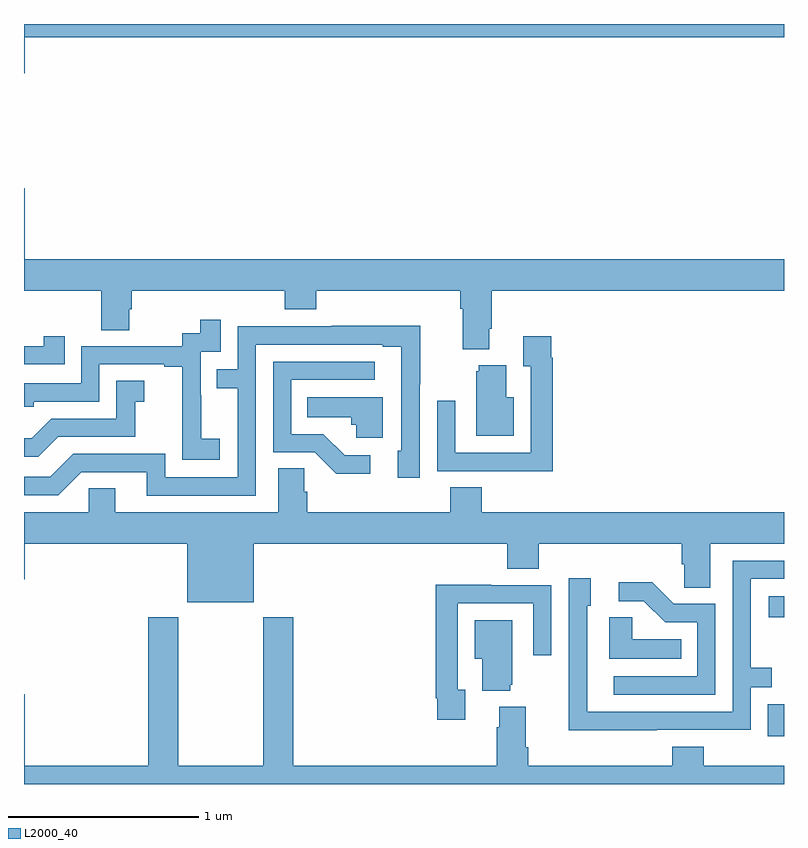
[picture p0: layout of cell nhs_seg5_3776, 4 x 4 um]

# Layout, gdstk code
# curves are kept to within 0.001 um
import gdstk
lib = gdstk.Library(unit=1e-6, precision=1e-09)
def R(c, l, rs):  # rectangles x0, y0, x1, y1
    for r in rs: c.add(gdstk.rectangle(r[:2], r[2:], *l))
def P(c, l, *ps):  # polygons
    for p in ps: c.add(gdstk.Polygon(p, *l))
L2000_40 = (2000, 40)

nhs_seg5_3776 = lib.new_cell('nhs_seg5_3776')
R(nhs_seg5_3776, L2000_40, [(336.915,885.051,337,885.219), (336.921,885.677,337,885.787)])
P(nhs_seg5_3776, L2000_40, [(333.004,888.728),(337,888.728),(337,888.799),(333,888.799),(333,888.54),(333.004,888.54)],
  [(335.449,887.194),(335.462,887.194),(335.462,887.396),(337,887.396),(337,887.56),(333.004,887.56),(333.004,887.935),(333,887.935),(333,887.396),(333.406,887.396),(333.406,887.188),(333.553,887.188),(333.553,887.298),(333.566,887.298),(333.566,887.396),(334.373,887.396),(334.373,887.297),(334.538,887.297),(334.538,887.396),(335.297,887.396),(335.297,887.3),(335.309,887.3),(335.309,887.087),(335.449,887.087)],
  [(334.03,886.615),(333.932,886.615),(333.932,886.844),(333.93,886.844),(333.93,887.073),(334.035,887.073),(334.035,887.242),(333.927,887.242),(333.927,887.172),(333.834,887.172),(333.834,887.103),(333.3,887.103),(333.3,886.908),(333,886.908),(333,886.785),(333.051,886.785),(333.051,886.812),(333.396,886.812),(333.396,887.007),(333.737,887.007),(333.737,886.995),(333.833,886.995),(333.833,886.711),(333.832,886.711),(333.832,886.505),(334.03,886.505)],
  [(334.221,887.112),(334.889,887.112),(334.889,887.1),(334.985,887.1),(334.986,886.554),(334.967,886.554),(334.967,886.41),(335.082,886.41),(335.082,886.903),(335.085,886.903),(335.085,887.21),(334.621,887.21),(334.621,887.208),(334.125,887.208),(334.125,886.983),(334.015,886.983),(334.015,886.882),(334.125,886.882),(334.125,886.413),(333.744,886.413),(333.744,886.536),(333.258,886.536),(333.138,886.416),(333,886.416),(333,886.32),(333.18,886.32),(333.3,886.44),(333.647,886.44),(333.647,886.317),(334.221,886.317)],
  [(333.215,887.155),(333.104,887.155),(333.104,887.103),(333,887.103),(333,887.007),(333.215,887.007)],
  [(335.783,887.042),(335.776,887.042),(335.776,887.155),(335.627,887.155),(335.627,886.999),(335.667,886.999),(335.667,886.542),(335.271,886.542),(335.271,886.816),(335.175,886.816),(335.175,886.446),(335.491,886.446),(335.491,886.445),(335.783,886.445)],
  [(334.822,886.53),(334.687,886.53),(334.576,886.641),(334.407,886.641),(334.407,886.926),(334.846,886.926),(334.846,887.022),(334.311,887.022),(334.311,886.545),(334.53,886.545),(334.643,886.433),(334.822,886.433)],
  [(335.578,886.834),(335.539,886.834),(335.539,887.002),(335.393,887.002),(335.393,886.971),(335.381,886.971),(335.381,886.631),(335.578,886.631)],
  [(333.181,886.626),(333.585,886.626),(333.585,886.811),(333.634,886.811),(333.634,886.921),(333.486,886.921),(333.486,886.722),(333.144,886.722),(333.04,886.618),(333,886.618),(333,886.521),(333.076,886.521)],
  [(334.888,886.834),(334.492,886.834),(334.492,886.73),(334.723,886.73),(334.723,886.689),(334.749,886.689),(334.749,886.622),(334.888,886.622)],
  [(334.21,886.064),(335.543,886.064),(335.543,885.931),(335.708,885.931),(335.708,886.064),(336.461,886.064),(336.461,885.955),(336.474,885.955),(336.474,885.832),(336.613,885.832),(336.613,886.064),(337,886.064),(337,886.228),(335.408,886.228),(335.408,886.361),(335.243,886.361),(335.243,886.228),(334.49,886.228),(334.49,886.337),(334.476,886.337),(334.476,886.46),(334.337,886.46),(334.337,886.228),(333.481,886.228),(333.481,886.355),(333.342,886.355),(333.342,886.228),(333,886.228),(333,885.876),(333.004,885.876),(333.004,886.064),(333.86,886.064),(333.86,885.755),(334.21,885.755)],
  [(336.329,885.084),(336.825,885.084),(336.825,885.309),(336.935,885.309),(336.935,885.41),(336.825,885.41),(336.825,885.879),(337,885.879),(337,885.975),(336.729,885.975),(336.729,885.18),(335.964,885.18),(335.964,885.738),(335.983,885.738),(335.983,885.883),(335.868,885.883),(335.868,885.389),(335.866,885.389),(335.866,885.083),(336.329,885.083)],
  [(336.639,885.747),(336.42,885.747),(336.307,885.86),(336.129,885.86),(336.129,885.762),(336.263,885.762),(336.374,885.651),(336.543,885.651),(336.543,885.366),(336.105,885.366),(336.105,885.27),(336.639,885.27)],
  [(335.323,885.294),(335.283,885.294),(335.283,885.75),(335.679,885.75),(335.679,885.477),(335.775,885.477),(335.775,885.846),(335.459,885.846),(335.459,885.848),(335.167,885.848),(335.167,885.25),(335.175,885.25),(335.175,885.138),(335.323,885.138)],
  [(336.458,885.562),(336.201,885.562),(336.201,885.677),(336.08,885.677),(336.08,885.458),(336.458,885.458)],
  [(337,884.896),(336.578,884.896),(336.578,884.995),(336.413,884.995),(336.413,884.896),(335.654,884.896),(335.654,884.992),(335.641,884.992),(335.641,885.205),(335.501,885.205),(335.501,885.098),(335.489,885.098),(335.489,884.896),(334.418,884.896),(334.418,885.676),(334.258,885.676),(334.258,884.896),(333.813,884.896),(333.813,885.676),(333.653,885.676),(333.653,884.896),(333.004,884.896),(333.004,885.271),(333,885.271),(333,884.799),(337,884.799)],
  [(335.558,885.321),(335.569,885.321),(335.569,885.661),(335.372,885.661),(335.372,885.458),(335.411,885.458),(335.411,885.29),(335.558,885.29)])

lib.write_gds('nhs_seg5_3776.gds')
